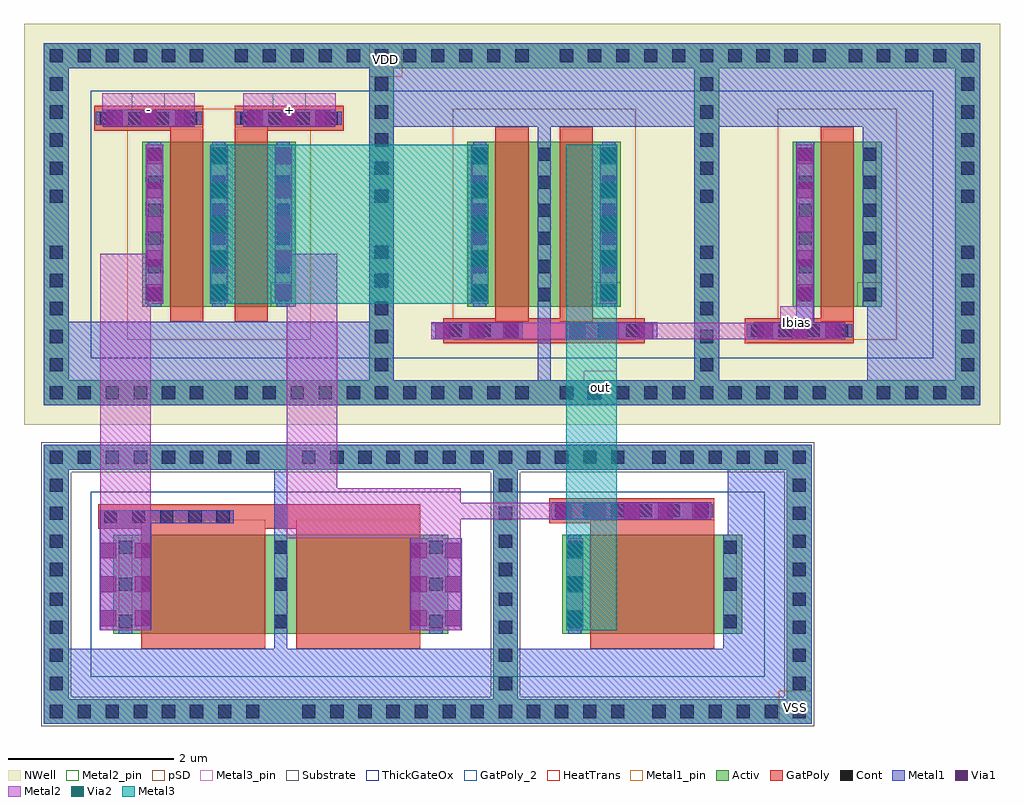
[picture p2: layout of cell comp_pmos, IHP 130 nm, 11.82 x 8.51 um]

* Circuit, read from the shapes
.subckt comp_pmos + - Ibias VDD VSS out
XM1 VSS n1 n1 VSS sg13_hv_nmos w=1.2u l=1.5u
XM2 n2 n1 VSS VSS sg13_hv_nmos w=1.2u l=1.5u
XM3 VSS n2 out VSS sg13_hv_nmos w=1.2u l=1.5u
XM4 n3 - n1 VDD sg13_hv_pmos w=2u l=0.4u
XM5 n2 + n3 VDD sg13_hv_pmos w=2u l=0.4u
XM6 VDD Ibias n3 VDD sg13_hv_pmos w=2u l=0.4u
XM7 out Ibias VDD VDD sg13_hv_pmos w=2u l=0.4u
XM8 VDD Ibias Ibias VDD sg13_hv_pmos w=2u l=0.4u
.ends

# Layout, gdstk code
from math import pi, radians
import gdstk
lib = gdstk.Library(unit=1e-6, precision=1e-09)
def R(c, l, rs):  # rectangles x0, y0, x1, y1
    for r in rs: c.add(gdstk.rectangle(r[:2], r[2:], *l))
def A(c, l, x, y, w, h, nx, ny, dx, dy):  # array of equal rectangles
    R(c, l, [(x+i*dx, y+j*dy, x+i*dx+w, y+j*dy+h) for i in range(nx) for j in range(ny)])
def P(c, l, *ps):  # polygons
    for p in ps: c.add(gdstk.Polygon(p, *l))
Activ = (1, 0)
GatPoly = (5, 0)
GatPoly_2 = (5, 2)
Cont = (6, 0)
Metal1 = (8, 0)
Metal1_pin = (8, 2)
Metal2 = (10, 0)
Metal2_pin = (10, 2)
pSD = (14, 0)
Via1 = (19, 0)
Via2 = (29, 0)
Metal3 = (30, 0)
Metal3_pin = (30, 2)
NWell = (31, 0)
Substrate = (40, 0)
ThickGateOx = (44, 0)
HeatTrans = (51, 0)

nmoshv_1_1 = lib.new_cell('nmosHV$1$1')
R(nmoshv_1_1, Activ, [(-0.84,-0.79,-0.54,1.99), (2.72,-0.79,3.02,1.99), (0,0,0.3,0.3), (0,0,2.18,1.2), (1.88,0,2.18,0.3), (-0.84,1.99,3.02,2.29)])
P(nmoshv_1_1, Activ, [(-0.84,-1.09),(-0.84,1.99),(-0.54,1.99),(-0.54,-0.79),(2.72,-0.79),(2.72,1.99),(-0.84,1.99),(-0.84,2.29),(3.02,2.29),(3.02,-1.09)])
R(nmoshv_1_1, GatPoly, [(0.34,-0.18,1.84,1.38)])
R(nmoshv_1_1, GatPoly_2, [(0.34,-0.18,1.84,1.38)])
A(nmoshv_1_1, Cont, -0.77, -1.02, 0.16, 0.16, 5, 2, 0.34, 3.08)
A(nmoshv_1_1, Cont, 1.09, -1.02, 0.16, 0.16, 6, 2, 0.34, 3.08)
A(nmoshv_1_1, Cont, -0.77, -0.68, 0.16, 0.16, 1, 4, 0, 0.34)
A(nmoshv_1_1, Cont, 2.79, -0.68, 0.16, 0.16, 1, 4, 0, 0.34)
A(nmoshv_1_1, Cont, 0.07, 0.07, 0.16, 0.16, 1, 3, 0, 0.45)
A(nmoshv_1_1, Cont, 1.95, 0.07, 0.16, 0.16, 1, 3, 0, 0.45)
A(nmoshv_1_1, Cont, -0.77, 0.7, 0.16, 0.16, 1, 4, 0, 0.34)
A(nmoshv_1_1, Cont, 2.79, 0.7, 0.16, 0.16, 1, 4, 0, 0.34)
R(nmoshv_1_1, Metal1, [(-0.84,-1.09,3.02,-0.79), (-0.84,-0.79,-0.54,1.99), (2.72,-0.79,3.02,1.99), (0.07,0,0.23,1.2), (1.95,0,2.11,1.2), (-0.84,1.99,3.02,2.29)])
R(nmoshv_1_1, Metal1_pin, [(0.07,0,0.23,1.2), (1.95,0,2.11,1.2)])
R(nmoshv_1_1, pSD, [(-0.87,-0.76,-0.51,1.96), (2.69,-0.76,3.05,1.96), (-0.87,1.96,3.05,2.32)])
P(nmoshv_1_1, pSD, [(-0.87,-1.12),(-0.87,1.96),(-0.51,1.96),(-0.51,-0.76),(2.69,-0.76),(2.69,1.96),(-0.87,1.96),(-0.87,2.32),(3.05,2.32),(3.05,-1.12)])
R(nmoshv_1_1, Substrate, [(-0.87,-0.76,-0.51,1.96), (2.69,-0.76,3.05,1.96), (-0.87,1.96,3.05,2.32)])
P(nmoshv_1_1, Substrate, [(-0.87,-1.12),(-0.87,1.96),(-0.51,1.96),(-0.51,-0.76),(2.69,-0.76),(2.69,1.96),(-0.87,1.96),(-0.87,2.32),(3.05,2.32),(3.05,-1.12)])
R(nmoshv_1_1, ThickGateOx, [(-0.27,-0.52,2.45,1.72)])
R(nmoshv_1_1, HeatTrans, [(0.34,-0.18,1.84,1.38)])
nmoshv_1_1.add(gdstk.Label('nmosHV', (1.09,0.6), layer=63, texttype=0))
nmoshv_1_1.add(gdstk.Label('sub!', (1.09,-0.94), layer=63, texttype=0))
nmoshv_1_1.add(gdstk.Label('nmosHV', (1.09,0.6), layer=51, texttype=0))

pmoshv_3 = lib.new_cell('pmosHV$3')
R(pmoshv_3, Activ, [(-1.19,-0.89,-0.89,2.89), (1.97,-0.89,2.27,2.89), (0,0,0.3,0.3), (0,0,1.08,2), (0.78,0,1.08,0.3), (-1.19,2.89,2.27,3.19)])
P(pmoshv_3, Activ, [(-1.19,-1.19),(-1.19,2.89),(-0.89,2.89),(-0.89,-0.89),(1.97,-0.89),(1.97,2.89),(-1.19,2.89),(-1.19,3.19),(2.27,3.19),(2.27,-1.19)])
R(pmoshv_3, GatPoly, [(0.34,-0.18,0.74,2.18)])
R(pmoshv_3, GatPoly_2, [(0.34,-0.18,0.74,2.18)])
A(pmoshv_3, Cont, -1.12, -1.12, 0.16, 0.16, 5, 2, 0.34, 4.08)
A(pmoshv_3, Cont, 0.68, -1.12, 0.16, 0.16, 5, 2, 0.34, 4.08)
A(pmoshv_3, Cont, -1.12, -0.78, 0.16, 0.16, 1, 5, 0, 0.34)
A(pmoshv_3, Cont, 2.04, -0.78, 0.16, 0.16, 1, 5, 0, 0.34)
A(pmoshv_3, Cont, 0.07, 0.07, 0.16, 0.16, 1, 6, 0, 0.34)
A(pmoshv_3, Cont, 0.85, 0.07, 0.16, 0.16, 1, 6, 0, 0.34)
A(pmoshv_3, Cont, -1.12, 1.26, 0.16, 0.16, 1, 5, 0, 0.34)
A(pmoshv_3, Cont, 2.04, 1.26, 0.16, 0.16, 1, 5, 0, 0.34)
R(pmoshv_3, Metal1, [(-1.19,-1.19,2.27,-0.89), (-1.19,-0.89,-0.89,2.89), (1.97,-0.89,2.27,2.89), (0.07,0,0.23,2), (0.85,0,1.01,2), (-1.19,2.89,2.27,3.19)])
R(pmoshv_3, Metal1_pin, [(0.07,0,0.23,2), (0.85,0,1.01,2)])
R(pmoshv_3, pSD, [(-0.18,-0.4,1.26,2.4)])
R(pmoshv_3, NWell, [(-1.43,-1.43,2.51,3.43), (-0.62,-0.62,1.7,2.62)])
R(pmoshv_3, Substrate, [(0.78,0,1.08,0.3)])
R(pmoshv_3, ThickGateOx, [(-0.62,-0.62,1.7,2.62)])
R(pmoshv_3, HeatTrans, [(0.34,-0.18,0.74,2.18)])
pmoshv_3.add(gdstk.Label('pmosHV', (0.54,1), layer=63, texttype=0))
pmoshv_3.add(gdstk.Label('well', (0.54,-1.04), layer=63, texttype=0))
pmoshv_3.add(gdstk.Label('pmos', (0.54,1), layer=51, texttype=0))

pmoshv_1_2 = lib.new_cell('pmosHV$1$2')
A(pmoshv_1_2, Activ, 0, 0, 0.3, 0.3, 3, 1, 0.78, 0)
R(pmoshv_1_2, Activ, [(-1.19,-0.89,-0.89,2.89), (2.75,-0.89,3.05,2.89), (0,0,1.86,2), (-1.19,2.89,3.05,3.19)])
P(pmoshv_1_2, Activ, [(-1.19,-1.19),(-1.19,2.89),(-0.89,2.89),(-0.89,-0.89),(2.75,-0.89),(2.75,2.89),(-1.19,2.89),(-1.19,3.19),(3.05,3.19),(3.05,-1.19)])
R(pmoshv_1_2, GatPoly, [(0.34,-0.18,0.74,2.18), (1.12,-0.18,1.52,2.18)])
R(pmoshv_1_2, GatPoly_2, [(0.34,-0.18,0.74,2.18)])
A(pmoshv_1_2, Cont, -1.12, -1.12, 0.16, 0.16, 6, 2, 0.34, 4.08)
A(pmoshv_1_2, Cont, 1.12, -1.12, 0.16, 0.16, 6, 2, 0.34, 4.08)
A(pmoshv_1_2, Cont, -1.12, -0.78, 0.16, 0.16, 1, 5, 0, 0.34)
A(pmoshv_1_2, Cont, 2.82, -0.78, 0.16, 0.16, 1, 5, 0, 0.34)
A(pmoshv_1_2, Cont, 0.07, 0.07, 0.16, 0.16, 3, 6, 0.78, 0.34)
A(pmoshv_1_2, Cont, -1.12, 1.26, 0.16, 0.16, 1, 5, 0, 0.34)
A(pmoshv_1_2, Cont, 2.82, 1.26, 0.16, 0.16, 1, 5, 0, 0.34)
A(pmoshv_1_2, Metal1, 0.07, 0, 0.16, 2, 3, 1, 0.78, 0)
R(pmoshv_1_2, Metal1, [(-1.19,-1.19,3.05,-0.89), (-1.19,-0.89,-0.89,2.89), (2.75,-0.89,3.05,2.89), (-1.19,2.89,3.05,3.19)])
R(pmoshv_1_2, Metal1_pin, [(0.07,0,0.23,2), (0.85,0,1.01,2)])
R(pmoshv_1_2, pSD, [(-0.18,-0.4,2.04,2.4)])
R(pmoshv_1_2, NWell, [(-1.43,-1.43,3.29,3.43), (-0.62,-0.62,2.48,2.62)])
R(pmoshv_1_2, Substrate, [(1.56,0,1.86,0.3)])
R(pmoshv_1_2, ThickGateOx, [(-0.62,-0.62,2.48,2.62)])
R(pmoshv_1_2, HeatTrans, [(0.34,-0.18,0.74,2.18), (1.12,-0.18,1.52,2.18)])
pmoshv_1_2.add(gdstk.Label('pmosHV', (0.54,1), layer=63, texttype=0))
pmoshv_1_2.add(gdstk.Label('well', (0.93,-1.04), layer=63, texttype=0))
pmoshv_1_2.add(gdstk.Label('pmos', (0.54,1), layer=51, texttype=0))
pmoshv_1_2.add(gdstk.Label('pmos', (1.32,1), layer=51, texttype=0))

nmoshv_7 = lib.new_cell('nmosHV$7')
A(nmoshv_7, Activ, 0, 0, 0.3, 0.3, 3, 1, 1.88, 0)
R(nmoshv_7, Activ, [(-0.84,-0.79,-0.54,1.99), (4.6,-0.79,4.9,1.99), (0,0,4.06,1.2), (-0.84,1.99,4.9,2.29)])
P(nmoshv_7, Activ, [(-0.84,-1.09),(-0.84,1.99),(-0.54,1.99),(-0.54,-0.79),(4.6,-0.79),(4.6,1.99),(-0.84,1.99),(-0.84,2.29),(4.9,2.29),(4.9,-1.09)])
R(nmoshv_7, GatPoly, [(0.34,-0.18,1.84,1.38), (2.22,-0.18,3.72,1.38)])
R(nmoshv_7, GatPoly_2, [(0.34,-0.18,1.84,1.38)])
A(nmoshv_7, Cont, -0.77, -1.02, 0.16, 0.16, 8, 2, 0.34, 3.08)
A(nmoshv_7, Cont, 2.29, -1.02, 0.16, 0.16, 8, 2, 0.34, 3.08)
A(nmoshv_7, Cont, -0.77, -0.68, 0.16, 0.16, 1, 4, 0, 0.34)
A(nmoshv_7, Cont, 4.67, -0.68, 0.16, 0.16, 1, 4, 0, 0.34)
A(nmoshv_7, Cont, 0.07, 0.07, 0.16, 0.16, 3, 3, 1.88, 0.45)
A(nmoshv_7, Cont, -0.77, 0.7, 0.16, 0.16, 1, 4, 0, 0.34)
A(nmoshv_7, Cont, 4.67, 0.7, 0.16, 0.16, 1, 4, 0, 0.34)
A(nmoshv_7, Metal1, 0.07, 0, 0.16, 1.2, 3, 1, 1.88, 0)
R(nmoshv_7, Metal1, [(-0.84,-1.09,4.9,-0.79), (-0.84,-0.79,-0.54,1.99), (4.6,-0.79,4.9,1.99), (-0.84,1.99,4.9,2.29)])
R(nmoshv_7, Metal1_pin, [(0.07,0,0.23,1.2), (1.95,0,2.11,1.2)])
R(nmoshv_7, pSD, [(-0.87,-0.76,-0.51,1.96), (4.57,-0.76,4.93,1.96), (-0.87,1.96,4.93,2.32)])
P(nmoshv_7, pSD, [(-0.87,-1.12),(-0.87,1.96),(-0.51,1.96),(-0.51,-0.76),(4.57,-0.76),(4.57,1.96),(-0.87,1.96),(-0.87,2.32),(4.93,2.32),(4.93,-1.12)])
R(nmoshv_7, Substrate, [(-0.87,-0.76,-0.51,1.96), (4.57,-0.76,4.93,1.96), (-0.87,1.96,4.93,2.32)])
P(nmoshv_7, Substrate, [(-0.87,-1.12),(-0.87,1.96),(-0.51,1.96),(-0.51,-0.76),(4.57,-0.76),(4.57,1.96),(-0.87,1.96),(-0.87,2.32),(4.93,2.32),(4.93,-1.12)])
R(nmoshv_7, ThickGateOx, [(-0.27,-0.52,4.33,1.72)])
R(nmoshv_7, HeatTrans, [(0.34,-0.18,1.84,1.38), (2.22,-0.18,3.72,1.38)])
nmoshv_7.add(gdstk.Label('nmosHV', (1.09,0.6), layer=63, texttype=0))
nmoshv_7.add(gdstk.Label('sub!', (2.03,-0.94), layer=63, texttype=0))
nmoshv_7.add(gdstk.Label('nmosHV', (1.09,0.6), layer=51, texttype=0))
nmoshv_7.add(gdstk.Label('nmosHV', (2.97,0.6), layer=51, texttype=0))

via_stack_24 = lib.new_cell('via_stack$24')
R(via_stack_24, Metal1, [(-0.965,-0.105,0.965,0.105)])
R(via_stack_24, Metal2, [(-0.965,-0.1,0.965,0.1)])
A(via_stack_24, Via1, -0.915, -0.095, 0.19, 0.19, 5, 1, 0.41, 0)

via_stack_1 = lib.new_cell('via_stack$1')
R(via_stack_1, Metal1, [(-0.555,-0.31,0.555,0.31)])
R(via_stack_1, Metal2, [(-0.555,-0.305,0.555,0.305)])
A(via_stack_1, Via1, -0.505, -0.3, 0.19, 0.19, 3, 2, 0.41, 0.41)

via_stack_2_2 = lib.new_cell('via_stack$2$2')
R(via_stack_2_2, Metal1, [(-0.965,-0.105,0.965,0.105)])
R(via_stack_2_2, Metal2, [(-0.965,-0.1,0.965,0.1)])
A(via_stack_2_2, Via1, -0.915, -0.095, 0.19, 0.19, 5, 1, 0.41, 0)
A(via_stack_2_2, Via2, -0.915, -0.095, 0.19, 0.19, 5, 1, 0.41, 0)
R(via_stack_2_2, Metal3, [(-0.965,-0.1,0.965,0.1)])

via_stack_3_1 = lib.new_cell('via_stack$3$1')
R(via_stack_3_1, Metal1, [(-0.105,-0.965,0.105,0.965)])
R(via_stack_3_1, Metal2, [(-0.1,-0.965,0.1,0.965)])
A(via_stack_3_1, Via1, -0.095, -0.915, 0.19, 0.19, 1, 5, 0, 0.41)

via_stack_4_2 = lib.new_cell('via_stack$4$2')
R(via_stack_4_2, GatPoly, [(-0.15,-1,0.15,1)])
A(via_stack_4_2, Cont, -0.08, -0.93, 0.16, 0.16, 1, 6, 0, 0.34)
R(via_stack_4_2, Metal1, [(-0.08,-0.98,0.08,0.98)])

via_stack_6_1 = lib.new_cell('via_stack$6$1')
R(via_stack_6_1, GatPoly, [(-0.83,-0.15,0.83,0.15)])
A(via_stack_6_1, Cont, -0.76, -0.08, 0.16, 0.16, 5, 1, 0.34, 0)
R(via_stack_6_1, Metal1, [(-0.81,-0.08,0.81,0.08)])

via_stack_9_1 = lib.new_cell('via_stack$9$1')
R(via_stack_9_1, GatPoly, [(-0.15,-0.49,0.15,0.49)])
A(via_stack_9_1, Cont, -0.08, -0.42, 0.16, 0.16, 1, 3, 0, 0.34)
R(via_stack_9_1, Metal1, [(-0.08,-0.47,0.08,0.47)])

via_stack_8_2 = lib.new_cell('via_stack$8$2')
R(via_stack_8_2, Metal1, [(-0.105,-0.555,0.105,0.555)])
R(via_stack_8_2, Metal2, [(-0.1,-0.555,0.1,0.555)])
A(via_stack_8_2, Via1, -0.095, -0.505, 0.19, 0.19, 1, 3, 0, 0.41)

via_stack_11_1 = lib.new_cell('via_stack$11$1')
R(via_stack_11_1, Metal1, [(-0.555,-0.105,0.555,0.105)])
R(via_stack_11_1, Metal2, [(-0.555,-0.1,0.555,0.1)])
A(via_stack_11_1, Via1, -0.505, -0.095, 0.19, 0.19, 3, 1, 0.41, 0)
A(via_stack_11_1, Via2, -0.505, -0.095, 0.19, 0.19, 3, 1, 0.41, 0)
R(via_stack_11_1, Metal3, [(-0.555,-0.1,0.555,0.1)])

via_stack_7 = lib.new_cell('via_stack$7')
R(via_stack_7, GatPoly, [(-0.15,-0.66,0.15,0.66)])
A(via_stack_7, Cont, -0.08, -0.59, 0.16, 0.16, 1, 4, 0, 0.34)
R(via_stack_7, Metal1, [(-0.08,-0.64,0.08,0.64)])

comp_pmos = lib.new_cell('comp_pmos')
R(comp_pmos, GatPoly, [(-1.46,1.58,2.44,1.88), (3.7,3.83,4.18,4.13)])
R(comp_pmos, Metal1, [(-1.82,-0.48,6.88,0.13), (0.67,-0.48,0.83,2.3), (6.11,-0.48,6.88,1.51), (-1.44,0.355,-0.82,1.81), (6.16,1.51,6.88,2.3), (-1.82,3.38,1.82,4.09), (3.86,3.38,4.02,7.16), (7.85,3.38,8.92,4.27), (6.99,4.085,7.21,6.27), (7.8,4.27,8.92,7.16), (2.12,6.45,8.92,7.16)])
R(comp_pmos, Metal1_pin, [(6.78,-0.78,7.18,-0.38), (1.82,7.06,2.22,7.46)])
R(comp_pmos, Metal2, [(2.57,3.88,7.585,4.08), (6.8,3.88,7.2,4.28), (7,4.08,7.2,6.235), (-1.415,6.455,-0.295,6.855), (0.295,6.455,1.415,6.855)])
R(comp_pmos, Metal2_pin, [(6.8,3.88,7.2,4.28), (-1.055,6.455,-0.655,6.855), (0.655,6.455,1.055,6.855)])
R(comp_pmos, Metal3, [(4.21,0.355,4.82,6.235), (-0.1,4.305,3.26,6.235)])
R(comp_pmos, Metal3_pin, [(4.42,3.095,4.82,3.495)])
R(comp_pmos, ThickGateOx, [(3.05,-0.21,3.89,2.03), (1.55,3.65,2.39,6.89), (5.49,3.65,6.33,6.89)])
comp_pmos.add(gdstk.FlexPath([(-1.13,1.465),(-1.13,4.61),(-0.68,4.61),(-0.68,4.61)], 0.61, ends="flush", simple_path=True, layer=10, datatype=0))  # Metal2
comp_pmos.add(gdstk.FlexPath([(4.035,1.8),(2.325,1.8)], 0.2, ends="flush", simple_path=True, layer=10, datatype=0))  # Metal2
comp_pmos.add(gdstk.FlexPath([(0.68,4.61),(1.13,4.61),(1.13,1.77),(2.93,1.77),(2.93,1.77)], 0.61, ends="flush", simple_path=True, layer=10, datatype=0))  # Metal2
comp_pmos.add(gdstk.Reference(nmoshv_1_1, (4.16,0.31)))
comp_pmos.add(gdstk.Reference(pmoshv_3, (6.95,4.27)))
comp_pmos.add(gdstk.Reference(pmoshv_1_2, (3.01,4.27)))
comp_pmos.add(gdstk.Reference(nmoshv_7, (-1.28,0.31)))
comp_pmos.add(gdstk.Reference(via_stack_24, (-0.78,5.27), rotation=pi/2))
comp_pmos.add(gdstk.Reference(via_stack_24, (0.78,5.27), rotation=pi/2))
comp_pmos.add(gdstk.Reference(via_stack_1, (-1.13,0.91), rotation=pi/2))
comp_pmos.add(gdstk.Reference(via_stack_1, (2.63,0.91), rotation=pi/2))
comp_pmos.add(gdstk.Reference(via_stack_2_2, (0,5.27), rotation=pi/2))
comp_pmos.add(gdstk.Reference(via_stack_2_2, (3.16,5.27), rotation=pi/2))
comp_pmos.add(gdstk.Reference(via_stack_3_1, (5,1.8), rotation=pi/2))
comp_pmos.add(gdstk.Reference(via_stack_4_2, (5,1.8), rotation=pi/2))
comp_pmos.add(gdstk.Reference(via_stack_6_1, (-0.63,1.73), x_reflection=True))
comp_pmos.add(gdstk.Reference(via_stack_9_1, (4.67,3.98), rotation=pi/2))
comp_pmos.add(gdstk.Reference(via_stack_9_1, (3.21,3.98), rotation=pi/2))
comp_pmos.add(gdstk.Reference(via_stack_8_2, (4.755,3.98), rotation=pi/2))
comp_pmos.add(gdstk.Reference(via_stack_8_2, (3.125,3.98), rotation=pi/2))
comp_pmos.add(gdstk.Reference(via_stack_8_2, (7.03,3.98), rotation=pi/2))
comp_pmos.add(gdstk.Reference(via_stack_2_2, (4.72,5.27), rotation=pi/2))
comp_pmos.add(gdstk.Reference(via_stack_11_1, (4.31,0.91), rotation=pi/2))
comp_pmos.add(gdstk.Reference(via_stack_24, (7.1,5.27), rotation=pi/2))
comp_pmos.add(gdstk.Reference(pmoshv_1_2, (-0.93,4.27)))
comp_pmos.add(gdstk.Reference(via_stack_7, (7.03,3.98), rotation=pi/2))
comp_pmos.add(gdstk.Reference(via_stack_8_2, (-0.85,6.555), rotation=pi/2))
comp_pmos.add(gdstk.Reference(via_stack_7, (-0.85,6.555), rotation=pi/2))
comp_pmos.add(gdstk.Reference(via_stack_8_2, (0.85,6.555), rotation=pi/2))
comp_pmos.add(gdstk.Reference(via_stack_7, (0.85,6.555), rotation=pi/2))
comp_pmos.add(gdstk.Label('VDD', (2.02,7.26), layer=8, texttype=25))
comp_pmos.add(gdstk.Label('VSS', (6.98,-0.58), layer=8, texttype=25))
comp_pmos.add(gdstk.Label('+', (0.855,6.655), layer=10, texttype=25))
comp_pmos.add(gdstk.Label('-', (-0.855,6.655), layer=10, texttype=25))
comp_pmos.add(gdstk.Label('Ibias', (7,4.08), layer=10, texttype=25))
comp_pmos.add(gdstk.Label('out', (4.62,3.295), layer=30, texttype=25))

lib.write_gds('comp_pmos.gds')
